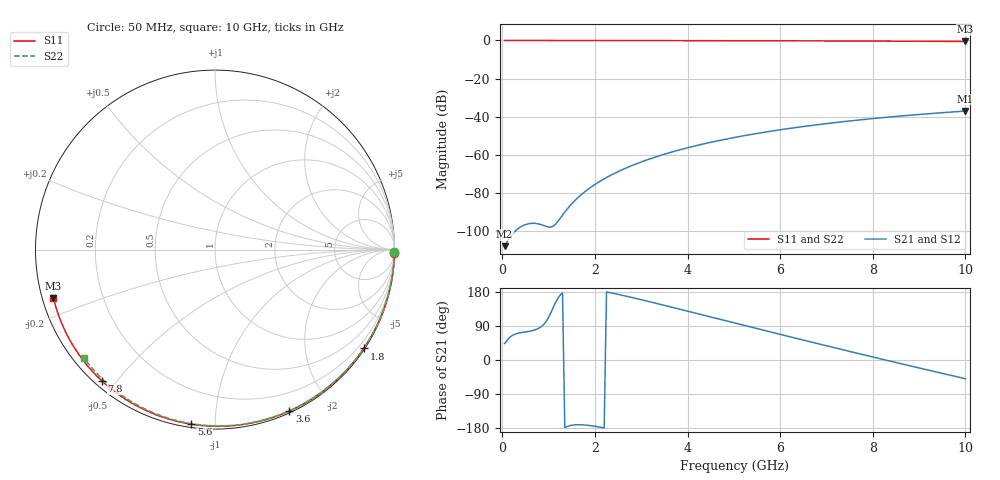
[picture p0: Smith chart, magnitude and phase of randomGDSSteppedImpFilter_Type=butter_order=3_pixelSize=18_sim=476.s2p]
! freq	dB(S11)	phase(S11)	dB(S12)	phase(S12)
!  dB(S21)	phase(S21)	dB(S22)	phase(S22)
!S-par simulation data
#  GHz  S  DB  R 50
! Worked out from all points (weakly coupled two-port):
!   200 points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, 50 MHz to 10 GHz, reference 50 ohm
!   highest |S21| = -37.08 dB at 10 GHz (marker M1); lowest = -108.1 dB at 50 MHz (marker M2)
!   lowest |S11| = -0.5 dB at 10 GHz (marker M3), VSWR 32.08, Z = 1.59 - j7.3 ohm
!   |S11| at or under -10 dB: nowhere
!   |S22| runs from -0.5 to 0.0 dB; largest |S21 - S12| = 0
!   S11 on the Smith chart (normalised r, x): 50 MHz: open; 1.8 GHz: 0.03, -3.31; 3.6 GHz: 0.02, -1.56; 5.6 GHz: 0.02, -0.87; 7.8 GHz: 0.02, -0.46; 10 GHz: 0.03, -0.15
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0.05  -0.00 -1.0  -108.06 43.3  -108.06 43.3  -0.00 -0.8
0.45  -0.01 -8.5  -97.23 73.1  -97.23 73.1  -0.01 -7.3
0.85  -0.02 -16.1  -96.82 88.8  -96.82 88.8  -0.02 -13.8
1.3  -0.03 -24.4  -91.73 177.2  -91.73 177.2  -0.03 -21.0
1.75  -0.04 -32.7  -80.09 -171.3  -80.09 -171.3  -0.04 -28.2
1.8  -0.04 -33.6  -79.12 -171.8  -79.12 -171.8  -0.04 -28.9
2.1  -0.05 -39.0  -74.12 -176.9  -74.12 -176.9  -0.04 -33.6
2.3  -0.05 -42.6  -71.36 178.4  -71.36 178.4  -0.05 -36.8
2.5  -0.06 -46.2  -68.92 173.3  -68.92 173.3  -0.05 -39.8
2.9  -0.07 -53.3  -64.75 162.1  -64.75 162.1  -0.06 -46.0
3.4  -0.08 -61.9  -60.51 147.2  -60.51 147.2  -0.07 -53.5
3.6  -0.09 -65.3  -59.03 141.1  -59.03 141.1  -0.08 -56.5
4.3  -0.11 -77.0  -54.60 119.6  -54.60 119.6  -0.09 -66.7
5.05  -0.14 -89.1  -50.79 96.6  -50.79 96.6  -0.12 -77.3
5.6  -0.16 -97.7  -48.44 79.8  -48.44 79.8  -0.14 -84.8
6.15  -0.19 -106.2  -46.39 63.1  -46.39 63.1  -0.16 -92.2
6.7  -0.22 -114.4  -44.57 46.5  -44.57 46.5  -0.19 -99.4
7.25  -0.26 -122.6  -42.96 30.1  -42.96 30.1  -0.23 -106.5
7.8  -0.30 -130.7  -41.52 13.8  -41.52 13.8  -0.26 -113.4
8.35  -0.35 -138.8  -40.24 -2.3  -40.24 -2.3  -0.31 -120.3
9.2  -0.44 -151.3  -38.50 -26.7  -38.50 -26.7  -0.39 -130.8
10  -0.54 -163.4  -37.08 -49.4  -37.08 -49.4  -0.47 -140.6
